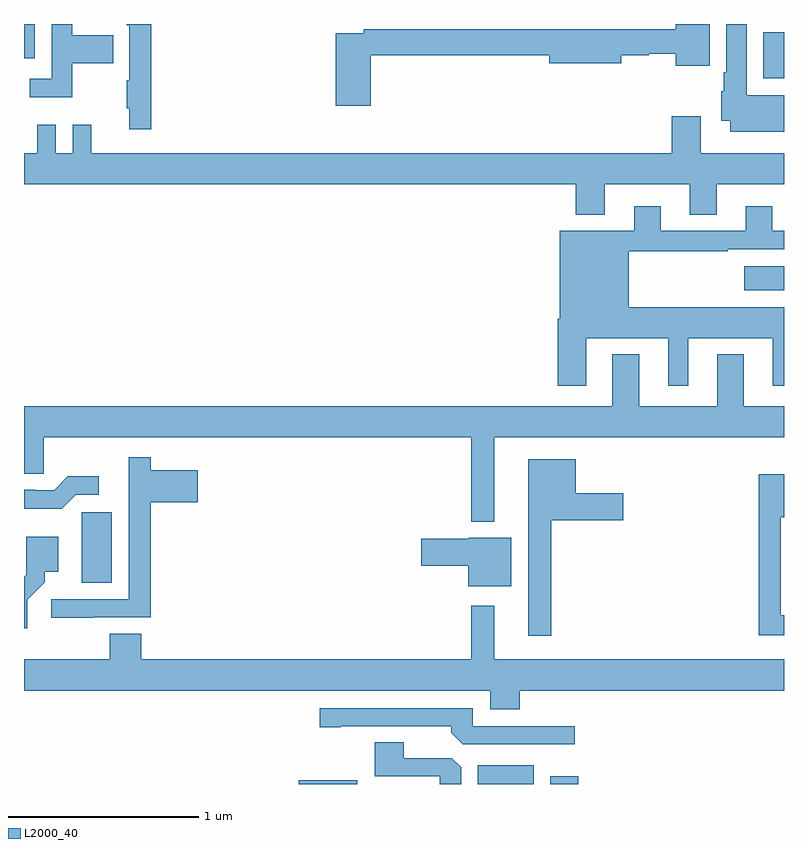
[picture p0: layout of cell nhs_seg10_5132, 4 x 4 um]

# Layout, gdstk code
import gdstk
lib = gdstk.Library(unit=1e-6, precision=1e-09)
def R(c, l, rs):  # rectangles x0, y0, x1, y1
    for r in rs: c.add(gdstk.rectangle(r[:2], r[2:], *l))
def P(c, l, *ps):  # polygons
    for p in ps: c.add(gdstk.Polygon(p, *l))
L2000_40 = (2000, 40)

nhs_seg10_5132 = lib.new_cell('nhs_seg10_5132')
R(nhs_seg10_5132, L2000_40, [(410.447,1290.5,410.755,1290.52), (411.389,1290.5,411.682,1290.598), (411.77,1290.5,411.917,1290.541), (409.304,1291.558,409.462,1291.929), (412.791,1293.098,413,1293.226), (412.892,1294.214,413,1294.456), (409,1294.319,409.057,1294.5)])
P(nhs_seg10_5132, L2000_40, [(410.825,1294.336),(411.764,1294.336),(411.764,1294.294),(412.144,1294.294),(412.144,1294.336),(412.287,1294.336),(412.287,1294.344),(412.43,1294.344),(412.43,1294.28),(412.609,1294.28),(412.609,1294.5),(412.43,1294.5),(412.43,1294.472),(410.788,1294.472),(410.788,1294.452),(410.642,1294.452),(410.642,1294.071),(410.825,1294.071)],
  [(409.255,1294.294),(409.469,1294.294),(409.469,1294.441),(409.255,1294.441),(409.255,1294.5),(409.146,1294.5),(409.146,1294.212),(409.029,1294.212),(409.029,1294.115),(409.255,1294.115)],
  [(413,1294.126),(412.804,1294.126),(412.804,1294.5),(412.697,1294.5),(412.697,1294.246),(412.682,1294.246),(412.682,1294.146),(412.67,1294.146),(412.67,1293.992),(412.718,1293.992),(412.718,1293.932),(413,1293.932)],
  [(409.67,1294.5),(409.542,1294.5),(409.542,1294.493),(409.554,1294.493),(409.554,1294.205),(409.542,1294.205),(409.542,1294.057),(409.553,1294.057),(409.553,1293.945),(409.67,1293.945)],
  [(412.645,1293.656),(413,1293.656),(413,1293.82),(412.561,1293.82),(412.561,1294.015),(412.409,1294.015),(412.409,1293.82),(409.355,1293.82),(409.355,1293.97),(409.257,1293.97),(409.257,1293.82),(409.167,1293.82),(409.167,1293.97),(409.07,1293.97),(409.07,1293.82),(409,1293.82),(409,1293.656),(411.905,1293.656),(411.905,1293.497),(412.057,1293.497),(412.057,1293.656),(412.505,1293.656),(412.505,1293.496),(412.645,1293.496)],
  [(411.958,1292.846),(412.391,1292.846),(412.391,1292.595),(412.495,1292.595),(412.495,1292.846),(412.94,1292.846),(412.94,1292.595),(413,1292.595),(413,1293.01),(412.183,1293.01),(412.183,1293.303),(412.703,1293.303),(412.703,1293.315),(413,1293.315),(413,1293.411),(412.939,1293.411),(412.939,1293.541),(412.799,1293.541),(412.799,1293.411),(412.351,1293.411),(412.351,1293.541),(412.211,1293.541),(412.211,1293.412),(411.821,1293.412),(411.821,1292.95),(411.809,1292.95),(411.809,1292.595),(411.958,1292.595)],
  [(411.475,1292.324),(413,1292.324),(413,1292.488),(412.789,1292.488),(412.789,1292.761),(412.649,1292.761),(412.649,1292.488),(412.237,1292.488),(412.237,1292.761),(412.097,1292.761),(412.097,1292.488),(409,1292.488),(409,1292.134),(409.104,1292.134),(409.104,1292.324),(411.354,1292.324),(411.354,1291.88),(411.475,1291.88)],
  [(409.367,1291.377),(409.667,1291.377),(409.667,1291.982),(409.915,1291.982),(409.915,1292.152),(409.667,1292.152),(409.667,1292.221),(409.55,1292.221),(409.55,1291.998),(409.551,1291.998),(409.551,1291.473),(409.143,1291.473),(409.143,1291.375),(409.367,1291.375)],
  [(411.775,1291.889),(412.153,1291.889),(412.153,1292.031),(411.904,1292.031),(411.904,1292.209),(411.653,1292.209),(411.653,1291.281),(411.775,1291.281)],
  [(413,1291.389),(412.983,1291.389),(412.983,1291.905),(413,1291.905),(413,1292.131),(412.867,1292.131),(412.867,1291.284),(413,1291.284)],
  [(409.272,1292.022),(409.393,1292.022),(409.393,1292.119),(409.231,1292.119),(409.158,1292.046),(409.058,1292.046),(409.058,1292.049),(409,1292.049),(409,1291.95),(409.199,1291.95)],
  [(409.018,1291.471),(409.108,1291.561),(409.108,1291.616),(409.18,1291.616),(409.18,1291.801),(409.013,1291.801),(409.013,1291.752),(409.011,1291.752),(409.011,1291.601),(409,1291.59),(409,1291.32),(409.018,1291.32)],
  [(411.565,1291.795),(411.342,1291.795),(411.342,1291.79),(411.09,1291.79),(411.09,1291.648),(411.338,1291.648),(411.338,1291.541),(411.565,1291.541)],
  [(411.608,1290.992),(413,1290.992),(413,1291.156),(411.475,1291.156),(411.475,1291.438),(411.354,1291.438),(411.354,1291.156),(409.616,1291.156),(409.616,1291.292),(409.451,1291.292),(409.451,1291.156),(409,1291.156),(409,1290.992),(411.455,1290.992),(411.455,1290.893),(411.608,1290.893)],
  [(411.898,1290.804),(411.363,1290.804),(411.363,1290.9),(410.556,1290.9),(410.556,1290.799),(410.668,1290.799),(410.668,1290.804),(411.248,1290.804),(411.248,1290.77),(411.309,1290.708),(411.898,1290.708)],
  [(411.301,1290.587),(411.252,1290.636),(410.998,1290.636),(410.998,1290.719),(410.846,1290.719),(410.846,1290.54),(411.189,1290.54),(411.189,1290.5),(411.301,1290.5)])

lib.write_gds('nhs_seg10_5132.gds')
